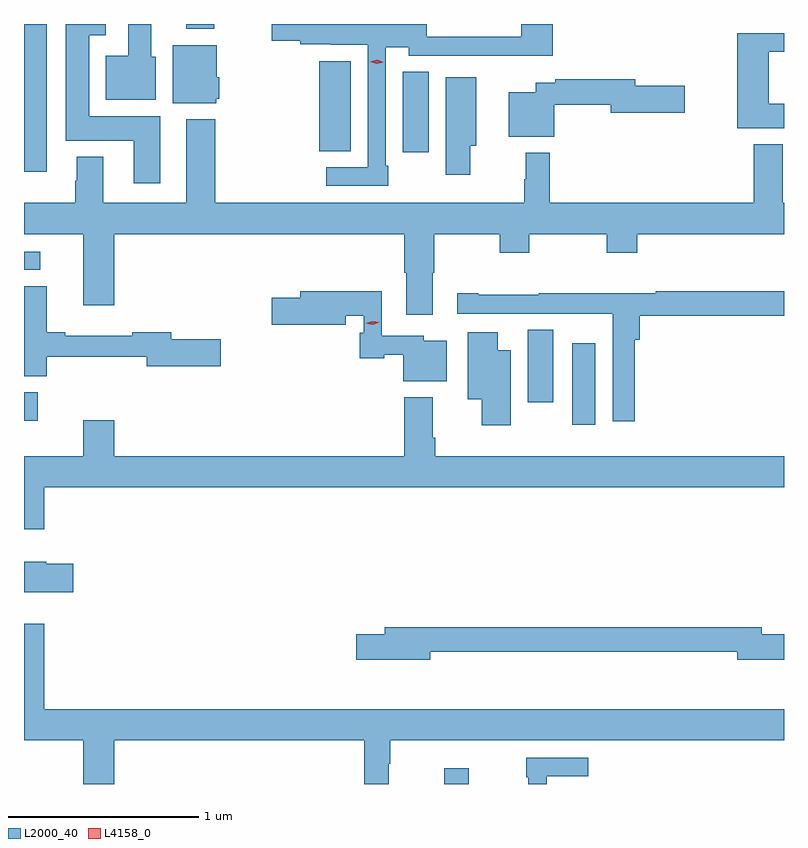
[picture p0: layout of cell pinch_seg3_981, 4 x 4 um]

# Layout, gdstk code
import gdstk
lib = gdstk.Library(unit=1e-6, precision=1e-09)
def R(c, l, rs):  # rectangles x0, y0, x1, y1
    for r in rs: c.add(gdstk.rectangle(r[:2], r[2:], *l))
def P(c, l, *ps):  # polygons
    for p in ps: c.add(gdstk.Polygon(p, *l))
L2000_40 = (2000, 40)
L4158_0 = (4158, 0)

pinch_seg3_981 = lib.new_cell('pinch_seg3_981')
R(pinch_seg3_981, L2000_40, [(418.657,711.342,418.786,711.424), (419.33,713.232,419.452,713.662), (416.445,713.255,416.518,713.404), (419.096,713.352,419.23,713.732), (416.445,714.048,416.53,714.144), (416.445,714.564,416.566,715.342), (418.439,714.666,418.576,715.091), (417.998,714.673,418.165,715.147), (417.299,715.316,417.447,715.342)])
P(pinch_seg3_981, L2000_40, [(418.363,714.595),(418.35,714.595),(418.35,715.22),(418.47,715.22),(418.47,715.176),(418.979,715.176),(418.979,715.175),(419.228,715.175),(419.228,715.342),(419.063,715.342),(419.063,715.274),(418.566,715.274),(418.566,715.342),(417.75,715.342),(417.75,715.253),(417.899,715.253),(417.899,715.235),(418.059,715.235),(418.059,715.232),(418.254,715.232),(418.254,714.588),(418.035,714.588),(418.035,714.492),(418.363,714.492)],
  [(417.163,714.856),(416.788,714.856),(416.788,715.283),(416.875,715.283),(416.875,715.342),(416.666,715.342),(416.666,714.728),(417.023,714.728),(417.023,714.504),(417.163,714.504)],
  [(417.139,715.17),(417.115,715.17),(417.115,715.342),(416.993,715.342),(416.993,715.174),(416.876,715.174),(416.876,714.944),(417.139,714.944)],
  [(420.445,714.922),(420.364,714.922),(420.364,715.197),(420.445,715.197),(420.445,715.293),(420.2,715.293),(420.2,714.794),(420.445,714.794)],
  [(417.456,714.948),(417.472,714.948),(417.472,715.062),(417.46,715.062),(417.46,715.231),(417.227,715.231),(417.227,714.926),(417.456,714.926)],
  [(418.794,714.701),(418.825,714.701),(418.825,715.063),(418.664,715.063),(418.664,714.549),(418.794,714.549)],
  [(419.235,714.916),(419.534,714.916),(419.534,714.874),(419.923,714.874),(419.923,715.016),(419.662,715.016),(419.662,715.052),(419.242,715.052),(419.242,715.033),(419.139,715.033),(419.139,714.982),(418.997,714.982),(418.997,714.749),(419.235,714.749)],
  [(418.597,714.032),(418.605,714.032),(418.605,714.236),(418.948,714.236),(418.948,714.137),(419.103,714.137),(419.103,714.236),(419.512,714.236),(419.512,714.137),(419.672,714.137),(419.672,714.236),(420.445,714.236),(420.445,714.4),(420.439,714.4),(420.439,714.709),(420.287,714.709),(420.287,714.4),(419.213,714.4),(419.213,714.664),(419.085,714.664),(419.085,714.524),(419.077,714.524),(419.077,714.4),(417.452,714.4),(417.452,714.841),(417.299,714.841),(417.299,714.4),(416.863,714.4),(416.863,714.643),(416.723,714.643),(416.723,714.516),(416.716,714.516),(416.716,714.4),(416.445,714.4),(416.445,714.236),(416.756,714.236),(416.756,713.862),(416.92,713.862),(416.92,714.236),(418.445,714.236),(418.445,714.032),(418.457,714.032),(418.457,713.811),(418.597,713.811)],
  [(416.566,713.592),(417.092,713.592),(417.092,713.542),(417.481,713.542),(417.481,713.684),(417.22,713.684),(417.22,713.72),(417.016,713.72),(417.016,713.701),(416.662,713.701),(416.662,713.72),(416.566,713.72),(416.566,713.963),(416.445,713.963),(416.445,713.489),(416.566,713.489)],
  [(419.66,713.681),(419.687,713.681),(419.687,713.806),(420.445,713.806),(420.445,713.935),(419.77,713.935),(419.77,713.924),(419.568,713.924),(419.568,713.926),(419.153,713.926),(419.153,713.916),(418.837,713.916),(418.837,713.926),(418.725,713.926),(418.725,713.817),(419.334,713.817),(419.334,713.816),(419.544,713.816),(419.544,713.25),(419.66,713.25)],
  [(418.669,713.674),(418.548,713.674),(418.548,713.7),(418.329,713.7),(418.329,713.935),(417.899,713.935),(417.899,713.901),(417.75,713.901),(417.75,713.759),(418.138,713.759),(418.138,713.806),(418.233,713.806),(418.233,713.718),(418.213,713.718),(418.213,713.584),(418.341,713.584),(418.341,713.602),(418.442,713.602),(418.442,713.462),(418.669,713.462)],
  [(419.008,713.626),(418.939,713.626),(418.939,713.719),(418.781,713.719),(418.781,713.366),(418.853,713.366),(418.853,713.229),(419.008,713.229)],
  [(416.551,712.904),(420.445,712.904),(420.445,713.068),(418.61,713.068),(418.61,713.164),(418.597,713.164),(418.597,713.377),(418.445,713.377),(418.445,713.068),(416.92,713.068),(416.92,713.257),(416.756,713.257),(416.756,713.068),(416.445,713.068),(416.445,712.683),(416.551,712.683)],
  [(416.704,712.5),(416.562,712.5),(416.562,712.513),(416.445,712.513),(416.445,712.352),(416.704,712.352)],
  [(416.92,711.572),(418.237,711.572),(418.237,711.342),(418.366,711.342),(418.366,711.449),(418.373,711.449),(418.373,711.572),(420.445,711.572),(420.445,711.736),(416.551,711.736),(416.551,712.186),(416.445,712.186),(416.445,711.572),(416.756,711.572),(416.756,711.342),(416.92,711.342)],
  [(418.582,712.038),(420.2,712.038),(420.2,711.995),(420.445,711.995),(420.445,712.13),(420.328,712.13),(420.328,712.166),(418.343,712.166),(418.343,712.13),(418.194,712.13),(418.194,711.995),(418.582,711.995)],
  [(419.196,711.384),(419.416,711.384),(419.416,711.48),(419.088,711.48),(419.088,711.377),(419.1,711.377),(419.1,711.342),(419.196,711.342)])
P(pinch_seg3_981, L4158_0, [(418.302,715.133),(418.268,715.144),(418.267,715.144),(418.268,715.144),(418.303,715.153),(418.337,715.142),(418.337,715.142),(418.337,715.142)],
  [(418.281,713.758),(418.244,713.766),(418.244,713.766),(418.244,713.766),(418.279,713.778),(418.316,713.771),(418.316,713.771),(418.316,713.771)])

lib.write_gds('pinch_seg3_981.gds')
